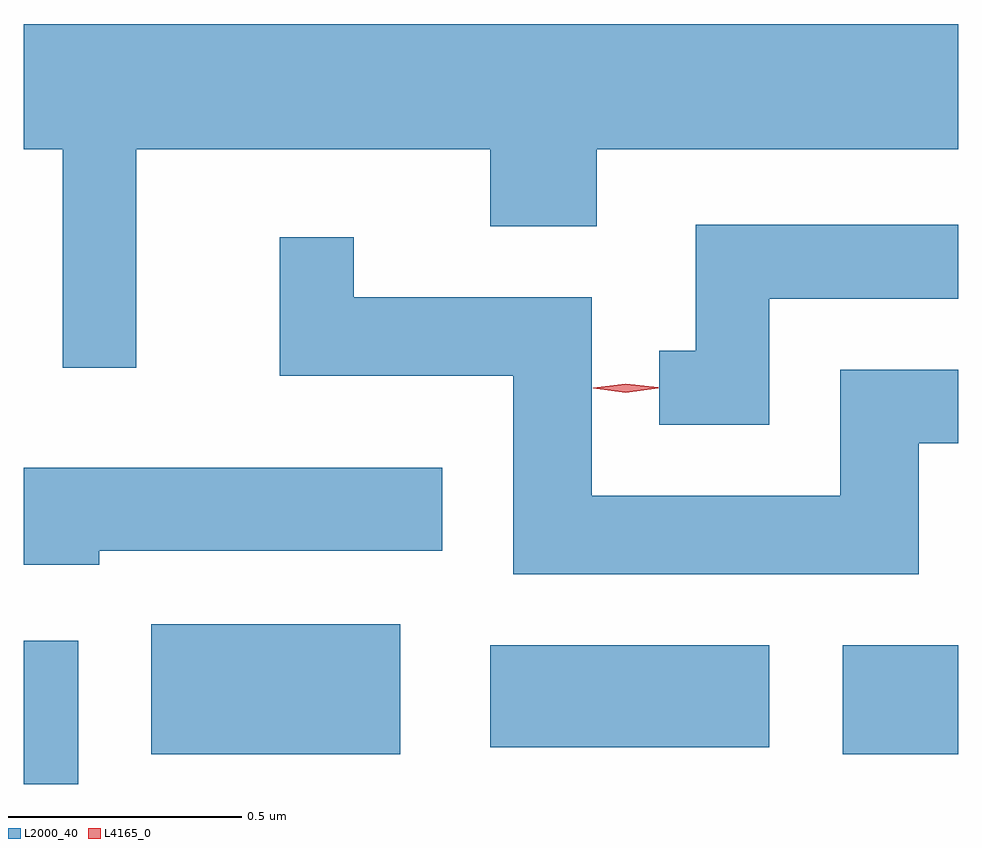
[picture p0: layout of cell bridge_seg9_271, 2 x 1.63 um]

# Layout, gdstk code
import gdstk
lib = gdstk.Library(unit=1e-6, precision=1e-09)
def R(c, l, rs):  # rectangles x0, y0, x1, y1
    for r in rs: c.add(gdstk.rectangle(r[:2], r[2:], *l))
def P(c, l, *ps):  # polygons
    for p in ps: c.add(gdstk.Polygon(p, *l))
L2000_40 = (2000, 40)
L4165_0 = (4165, 0)

bridge_seg9_271 = lib.new_cell('bridge_seg9_271')
R(bridge_seg9_271, L2000_40, [(1064.143,2068.157,1064.259,2068.464), (1064.416,2068.221,1064.949,2068.499), (1065.896,2068.221,1066.143,2068.454), (1065.141,2068.236,1065.739,2068.454)])
P(bridge_seg9_271, L2000_40, [(1064.384,2069.516),(1065.141,2069.516),(1065.141,2069.351),(1065.369,2069.351),(1065.369,2069.516),(1066.143,2069.516),(1066.143,2069.784),(1064.143,2069.784),(1064.143,2069.516),(1064.226,2069.516),(1064.226,2069.048),(1064.384,2069.048)],
  [(1065.739,2069.196),(1066.143,2069.196),(1066.143,2069.354),(1065.581,2069.354),(1065.581,2069.084),(1065.503,2069.084),(1065.503,2068.926),(1065.739,2068.926)],
  [(1066.059,2068.886),(1066.143,2068.886),(1066.143,2069.044),(1065.891,2069.044),(1065.891,2068.774),(1065.359,2068.774),(1065.359,2069.199),(1064.849,2069.199),(1064.849,2069.327),(1064.691,2069.327),(1064.691,2069.031),(1065.191,2069.031),(1065.191,2068.606),(1066.059,2068.606)],
  [(1064.304,2068.656),(1065.039,2068.656),(1065.039,2068.834),(1064.143,2068.834),(1064.143,2068.626),(1064.304,2068.626)])
P(bridge_seg9_271, L4165_0, [(1065.431,2068.995),(1065.362,2069.004),(1065.362,2069.004),(1065.362,2069.005),(1065.431,2069.014),(1065.501,2069.006),(1065.501,2069.005),(1065.501,2069.004)])

lib.write_gds('bridge_seg9_271.gds')
